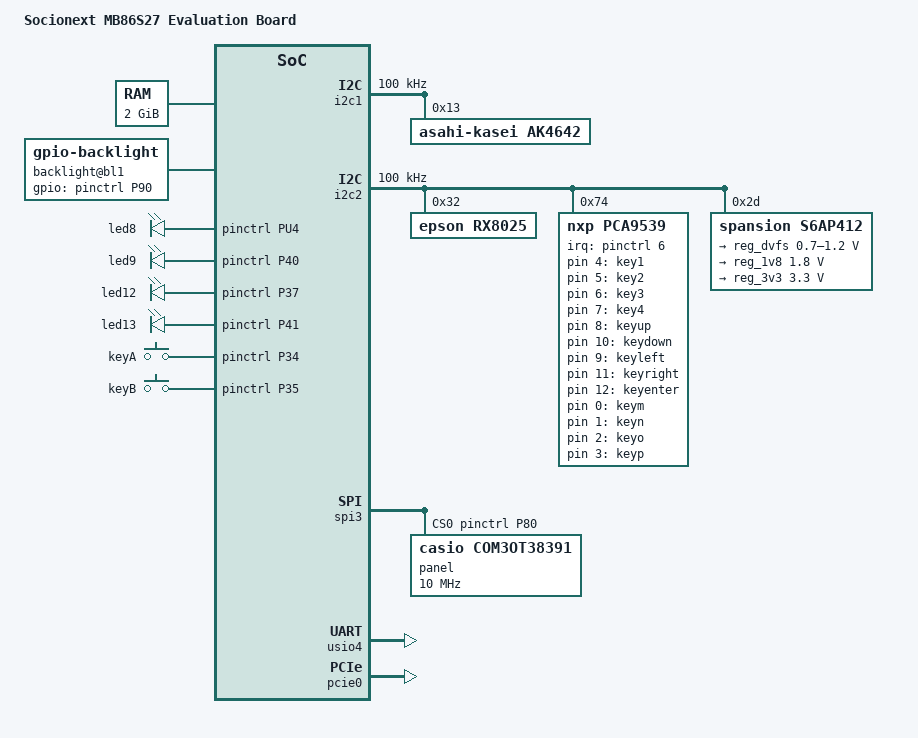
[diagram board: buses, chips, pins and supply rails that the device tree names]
/dts-v1/;

#include "skeleton.dtsi"
#include <dt-bindings/interrupt-controller/irq.h>
#include <dt-bindings/input/input.h>
#include "mb86s27-SDwrite.dtsi"

/ {
	model = "Socionext MB86S27 Evaluation Board";
	compatible = "socionext,mb86s27eb",
		     "socionext,mb86s27",
		     "socionext,milbeaut-evb";
	interrupt-parent = <&gic>;

	aliases {
	};

	chosen {
		bootargs = "consoleblank=0 loglevel=4 rdinit=/sbin/finit root=/dev/mmcblk0p2 rootwait ro console=ttyUSI0,115200n8 console=/dev/tty1 clk_ignore_unused=1 ";
                linux,initrd-start = <0x70000000>;
                linux,initrd-end =   <0x70001000>;
	};

	memory@40000000 {
		device_type = "memory";
		reg = <0x40000000 0x80000000>;
	};

        i2c0 {
                clock-frequency = <100000>;

		/* sensor control */
	};

        i2c1 {
                clock-frequency = <100000>;

		/* LCD panel control */

                ak4642: ak4642@13 {
			compatible = "asahi-kasei,ak4642", "ak4642";
			reg = <0x13>; /* CAD pulled HI */
                };
	};
        i2c2 {
                clock-frequency = <100000>;

                rx8025: rx8025@32 {
                        compatible = "epson,rx8025", "rx8025";
                        reg = <0x32>;
                };
                pca9539: pca9539@74 {
                        compatible = "nxp,pca9539", "pca9539";
			gpio-controller;
			#gpio-cells = <2>;
                        reg = <0x74>;
			interrupt-parent = <&pinctrl>;
			interrupts = <6 GPIO_ACTIVE_HIGH>; /* fpint31 ? check */
                };
                s6ap412: s6ap412@2d {
                        compatible = "spansion,s6ap412", "s6ap412";
                        reg = <0x2d>;

			/*
			 * on mb86s27 EVB all three dc-dc converters are
			 * forced on by an external sequencing scheme
			 * using CTL1 - CTL3 pins, so I2C request to
			 * turn off the converters is ignored.  Hence they
			 * are marked up as "always on"
			 */

			regulators {
				reg_dvfs: dd1 {
					regulator-name = "dd1";
					regulator-min-microvolt =  <700000>;
					regulator-max-microvolt = <1200000>;
					regulator-boot-on;
					regulator-always-on;
        		        };
				reg_1v8: dd2 {
					regulator-name = "dd2";
					regulator-min-microvolt = <1800000>;
					regulator-max-microvolt = <1800000>;
					regulator-boot-on;
					regulator-always-on;
        		        };
				reg_3v3: dd3 {
					regulator-name = "dd3";
					regulator-min-microvolt = <3300000>;
					regulator-max-microvolt = <3300000>;
					regulator-boot-on;
					regulator-always-on;
				};
			};
		};
	};

	cpus {
		cpu@0 {
			cpu0-supply = <&reg_dvfs>;
		};
	};

	/* used for test on EVB CN36
	spi3: usio_spi@2c090030 {
		status = "okay";
		cs-gpios = <&pinctrl PA0 GPIO_ACTIVE_HIGH>;
		flash@0 {
			compatible = "spansion,s25fl512s";
			spi-max-frequency = <62500000>;
			spi-rx-bus-width = <4>;
			spi-tx-bus-width = <4>;
			reg = <0>;
			#address-cells = <1>;
			#size-cells = <1>;

			spipart0@0 {
				label = "spi-firmware";
				reg = <0 0x200000>;
			};
			spipart1@1 {
				label = "spi-romfs";
				reg = <0x200000 0xe00000>;
			};
		};
	};
	*/

	spi3: usio_spi@2c090030 {
		status = "okay";
		cs-gpios = <&pinctrl P80 GPIO_ACTIVE_HIGH>;
		panel@0 {
			compatible = "casio,com3ot38391";
			reg = <0>;
			/* native panel backlight disabled as done by gpio */
			/* backlight; */
			spi-max-frequency = <10000000>;
		};
	};

	backlight@bl1{
		compatible = "gpio-backlight";
		gpios = <&pinctrl P90 GPIO_ACTIVE_HIGH>;
		default-on;
	};

	pinctrl: pinctrl@18002000 {
		reg = <0x18002000 0x1000>,
		      <0xfff6f000 0x1000>;
		reg-names = "pinctrl", "exiu";
	};	

        usio4: usio_uart@2c090040 {
                status = "okay";
		index = <0>;
	};

	pcie0: pcie@2b080000 {
		status = "okay";
	};

        gpio-leds {
                compatible = "gpio-leds";

                led8 {
                        label = "led8";
                        gpios = <&pinctrl PU4 GPIO_ACTIVE_HIGH>;
                        linux,default-trigger = "mmc0";
                };
                led9 {
                        label = "led9";
                        gpios = <&pinctrl P40 GPIO_ACTIVE_HIGH>;
                        linux,default-trigger = "heartbeat";
                };
                led12 {
                        label = "led12";
                        gpios = <&pinctrl P37 GPIO_ACTIVE_HIGH>;
                        linux,default-trigger = "off";
                };
                led13 {
                        label = "led13";
                        gpios = <&pinctrl P41 GPIO_ACTIVE_HIGH>;
                        linux,default-trigger = "off";
                };
	};

	gpio_keys {
		compatible = "gpio-keys";

		key_a { /* half shutter */
			label = "keyA";
			gpios = <&pinctrl P34 GPIO_ACTIVE_HIGH>; /* fpint28 */
			linux,code = <KEY_A>;
		};
		key_b { /* full shutter */
			label = "keyB";
			gpios = <&pinctrl P35 GPIO_ACTIVE_HIGH>; /* fpint29 */
			linux,code = <KEY_B>;
		};
		key_1 {
			label = "key1";
			gpios = <&pca9539 4 GPIO_ACTIVE_HIGH>;
			linux,code = <KEY_1>;
		};
		key_2 {
			label = "key2";
			gpios = <&pca9539 5 GPIO_ACTIVE_HIGH>;
			linux,code = <KEY_2>;
		};
		key_3 {
			label = "key3";
			gpios = <&pca9539 6 GPIO_ACTIVE_HIGH>;
			linux,code = <KEY_3>;
		};
		key_4 {
			label = "key4";
			gpios = <&pca9539 7 GPIO_ACTIVE_HIGH>;
			linux,code = <KEY_4>;
		};

		key_up {
			label = "keyup";
			gpios = <&pca9539 8 GPIO_ACTIVE_HIGH>;
			linux,code = <KEY_UP>;
		};
		key_down {
			label = "keydown";
			gpios = <&pca9539 10 GPIO_ACTIVE_HIGH>;
			linux,code = <KEY_DOWN>;
		};
		key_left {
			label = "keyleft";
			gpios = <&pca9539 9 GPIO_ACTIVE_HIGH>;
			linux,code = <KEY_LEFT>;
		};
		key_right {
			label = "keyright";
			gpios = <&pca9539 11 GPIO_ACTIVE_HIGH>;
			linux,code = <KEY_RIGHT>;
		};
		key_enter {
			label = "keyenter";
			gpios = <&pca9539 12 GPIO_ACTIVE_HIGH>;
			linux,code = <KEY_ENTER>;
		};

		key_m {
			label = "keym";
			gpios = <&pca9539 0 GPIO_ACTIVE_HIGH>;
			linux,code = <KEY_M>;
		};
		key_n {
			label = "keyn";
			gpios = <&pca9539 1 GPIO_ACTIVE_HIGH>;
			linux,code = <KEY_N>;
		};
		key_o {
			label = "keyo";
			gpios = <&pca9539 2 GPIO_ACTIVE_HIGH>;
			linux,code = <KEY_O>;
		};
		key_p {
			label = "keyp";
			gpios = <&pca9539 3 GPIO_ACTIVE_HIGH>;
			linux,code = <KEY_P>;
		};
	};

	nand: nand@ff900000 {
		nand-ecc-mode = "hw";
		nand-on-flash-bbt;

		//  512MiB NAND  
		//Rootfs 0
		partition@0x08100000 {
			label = "Rootfs0";
//			reg = <0x08100000 0x04000000>;
			reg = <0x0C200000 0x04000000>;
						
		};
		//Boot 1
		partition@0x14180000 {
			label = "Rootfs1";
//			reg = <0x14180000 0x04000000>;
			reg = <0x10200000 0x04000000>;
		};
		partition@0x18180000 {
			label = "Data";
//			reg = <0x18180000 0x06B00000>;
			reg = <0x19580000 0x06A80000>;
		};
		partition@0x18E00000 {
			label = "UserSettingData";
			reg = <0x18E00000 0x00140000>;
		};

	};

	fdb0: fdb.0 {
		status = "disabled";
		videophy0: dpi@fb0 {
			mode = "320x480x32bpp";
		};
	};

	videomodes@0 {
		status = "disabled";
                compatible = "video-modes";
                mode0: mode@0 {
			mode  = "320x480x32bpp";
			/* <fb H size in px   output px (scaler)>
			 *
			 * This panel has 960 subpx per line, 3 subpx = 1 px
			 * so real resolution is 320 x 480.  But 1px (3 subpx)
			 * is at 2:1 aspect ratio, so we have to define the
			 * framebuffer to be 640 x 480, and then subsample
			 * 2:1 at the DISP8M output to get undistorted
			 * output
			 */
			hactive = <640 320>; /* 8-bit x3 = 960clk, HTOT=1024 */
			vactive = <480 480>;
			hback-porch = <11>; /* 8+3 in panel */
			hfront-porch = <52>;
			hsync-len = <1>;
			vback-porch = <2>;
			vfront-porch = <1>;
			vsync-len = <1>;
			flags = <0x25>; /* h high, v high, de high */
			clock = <27000>; /* 27MHz link clock */
			bpp = <32>;
			width-mm = <61>;
			height-mm = <46>;
			/* scanout-rotation = <0>; */
			red_offset      = <16>;
			red_length      = <8>;
			green_offset    = <8>;
			green_length    = <8>;
			blue_offset     = <0>;
			blue_length     = <8>;
			alpha_offset    = <24>;
			alpha_length    = <8>;
                };
	};

	sn_ipcufs: snipcufs@0 {
		compatible = "socionext,ipcufs-client";
		mboxes = <&ipcu 0>;	// IPCUFS i/f at Linux
		rtos-mtp-if = <6>;	// IPCUFS i/f at RTOS
	};

	/*
	 * By default IPCU driver exposes kernel interfaces for other kernel
	 * drivers.  If you are sure you know what you are doing and what problems
	 * will be caused, you can disable kernel driver access to IPCU and allow
	 * userland only to access it directly.
	 *
	 * DISABLED BY DEFAULT

	snrtos_ipcu: snrtos@0 {
		compatible = "socionext,rtos-client";
		mboxes = <&ipcu 0>;	// Linux owns cpu i/f 0
		dst-mask = <0x2>;	//  assuming RTOS owns cpu i/f 1
	};

	ipcu_client0: ipc@0 {
		status = "disabled";
	};
	ipcu_client1: ipc@1 {
		status = "disabled";
	};
	ipcu_client2: ipc@2 {
		status = "disabled";
	};
	ipcu_client3: ipc@3 {
		status = "disabled";
	};
	ipcu_client4: ipc@4 {
		status = "disabled";
	};
	ipcu_client5: ipc@5 {
		status = "disabled";
	};
	ipcu_client6: ipc@6 {
		status = "disabled";
	};
	ipcu_client7: ipc@7 {
		status = "disabled";
	};

	*/

};
